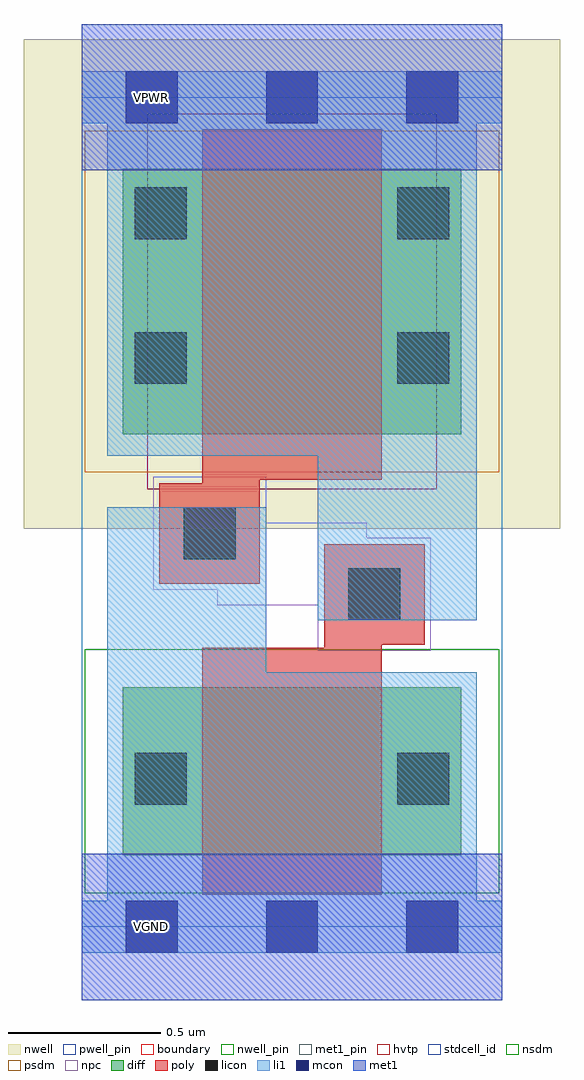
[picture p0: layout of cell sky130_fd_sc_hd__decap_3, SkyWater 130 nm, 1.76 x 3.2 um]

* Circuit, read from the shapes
.subckt sky130_fd_sc_hd__decap_3 VGND VNB VPB VPWR
XM1 VGND VPWR VGND VNB sky130_fd_pr__nfet_01v8 w=0.55 l=0.59
XM2 VPWR VGND VPWR VPB sky130_fd_pr__pfet_01v8_hvt w=0.87 l=0.59
.ends

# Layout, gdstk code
import gdstk
lib = gdstk.Library(unit=1e-6, precision=1e-09)
def R(c, l, rs):  # rectangles x0, y0, x1, y1
    for r in rs: c.add(gdstk.rectangle(r[:2], r[2:], *l))
def A(c, l, x, y, w, h, nx, ny, dx, dy):  # array of equal rectangles
    R(c, l, [(x+i*dx, y+j*dy, x+i*dx+w, y+j*dy+h) for i in range(nx) for j in range(ny)])
nwell_pin = (64, 16)
nwell = (64, 20)
diff = (65, 20)
poly = (66, 20)
licon = (66, 44)
li1 = (67, 20)
mcon = (67, 44)
met1_pin = (68, 16)
met1 = (68, 20)
hvtp = (78, 44)
stdcell_id = (81, 4)
nsdm = (93, 44)
psdm = (94, 20)
npc = (95, 20)
pwell_pin = (122, 16)
boundary = (235, 4)

sky130_fd_sc_hd__decap_3 = lib.new_cell('sky130_fd_sc_hd__decap_3')
R(sky130_fd_sc_hd__decap_3, nwell_pin, [(0.145,2.635,0.315,2.805)])
R(sky130_fd_sc_hd__decap_3, nwell, [(-0.19,1.305,1.57,2.91)])
R(sky130_fd_sc_hd__decap_3, diff, [(0.135,0.235,1.245,0.785), (0.135,1.615,1.245,2.485)])
R(sky130_fd_sc_hd__decap_3, poly, [(0.395,0.105,0.985,0.915), (0.795,0.915,0.985,0.925), (0.795,0.925,1.125,1.255), (0.255,1.125,0.585,1.455), (0.395,1.455,0.585,1.465), (0.395,1.465,0.985,2.615)])
R(sky130_fd_sc_hd__decap_3, licon, [(0.175,0.4,0.345,0.57), (1.035,0.4,1.205,0.57), (0.875,1.005,1.045,1.175), (0.335,1.205,0.505,1.375), (0.175,1.78,0.345,1.95), (1.035,1.78,1.205,1.95), (0.175,2.255,0.345,2.425), (1.035,2.255,1.205,2.425)])
R(sky130_fd_sc_hd__decap_3, li1, [(0,-0.085,1.38,0.085), (0.085,0.085,1.295,0.835), (0.085,0.835,0.605,1.375), (0.775,1.005,1.295,1.545), (0.085,1.545,1.295,2.635), (0,2.635,1.38,2.805)])
A(sky130_fd_sc_hd__decap_3, mcon, 0.145, -0.085, 0.17, 0.17, 3, 2, 0.46, 2.72)
R(sky130_fd_sc_hd__decap_3, met1_pin, [(0.145,-0.085,0.315,0.085), (0.145,2.635,0.315,2.805)])
R(sky130_fd_sc_hd__decap_3, met1, [(0,-0.24,1.38,0.24), (0,2.48,1.38,2.96)])
R(sky130_fd_sc_hd__decap_3, hvtp, [(0.215,1.435,1.165,2.665)])
R(sky130_fd_sc_hd__decap_3, stdcell_id, [(0,0,1.38,2.72)])
R(sky130_fd_sc_hd__decap_3, nsdm, [(0.01,0.11,1.37,0.91)])
R(sky130_fd_sc_hd__decap_3, psdm, [(0.01,1.49,1.37,2.61)])
R(sky130_fd_sc_hd__decap_3, npc, [(0.775,0.905,1.145,1.055), (0.445,1.055,1.145,1.105), (0.235,1.105,1.145,1.275), (0.235,1.275,0.935,1.325), (0.235,1.325,0.605,1.475)])
R(sky130_fd_sc_hd__decap_3, pwell_pin, [(0.145,-0.085,0.315,0.085)])
R(sky130_fd_sc_hd__decap_3, boundary, [(0,0,1.38,2.72)])
sky130_fd_sc_hd__decap_3.add(gdstk.Label('VPWR', (0.23,2.72), layer=68, texttype=5))
sky130_fd_sc_hd__decap_3.add(gdstk.Label('VGND', (0.23,0), layer=68, texttype=5))
sky130_fd_sc_hd__decap_3.add(gdstk.Label('VPB', (0.23,2.72), layer=64, texttype=5))
sky130_fd_sc_hd__decap_3.add(gdstk.Label('VNB', (0.23,0), layer=64, texttype=59))

lib.write_gds('sky130_fd_sc_hd__decap_3.gds')
